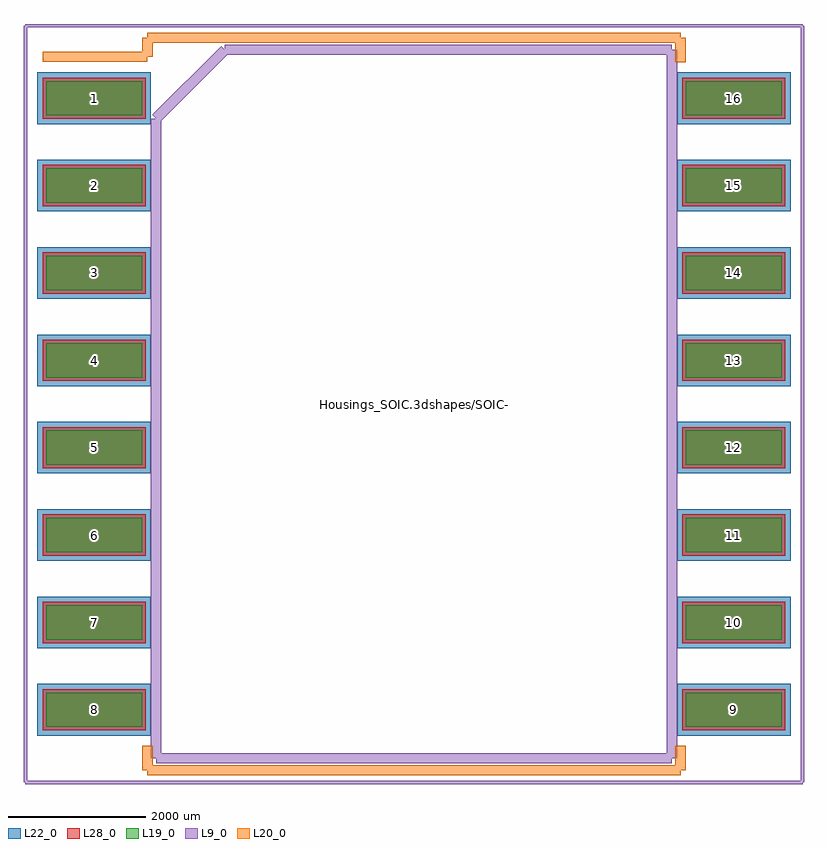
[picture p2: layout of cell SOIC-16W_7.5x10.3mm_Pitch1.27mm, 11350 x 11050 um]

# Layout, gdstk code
import gdstk
lib = gdstk.Library(unit=1e-6, precision=1e-09)
def R(c, l, rs):  # rectangles x0, y0, x1, y1
    for r in rs: c.add(gdstk.rectangle(r[:2], r[2:], *l))
def A(c, l, x, y, w, h, nx, ny, dx, dy):  # array of equal rectangles
    R(c, l, [(x+i*dx, y+j*dy, x+i*dx+w, y+j*dy+h) for i in range(nx) for j in range(ny)])
L9_0 = (9, 0)
L19_0 = (19, 0)
L20_0 = (20, 0)
L22_0 = (22, 0)
L28_0 = (28, 0)

soic_16w_7_5x10_3mm_pitc = lib.new_cell('SOIC-16W_7.5x10.3mm_Pitch1.27mm')
A(soic_16w_7_5x10_3mm_pitc, L19_0, -5350, -4695, 1400, 500, 1, 8, 0, 1270)
A(soic_16w_7_5x10_3mm_pitc, L19_0, 3950, -4695, 1400, 500, 1, 8, 0, 1270)
A(soic_16w_7_5x10_3mm_pitc, L22_0, -5475, -4820, 1650, 750, 1, 8, 0, 1270)
A(soic_16w_7_5x10_3mm_pitc, L22_0, 3825, -4820, 1650, 750, 1, 8, 0, 1270)
A(soic_16w_7_5x10_3mm_pitc, L28_0, -5400, -4745, 1500, 600, 1, 8, 0, 1270)
A(soic_16w_7_5x10_3mm_pitc, L28_0, 3900, -4745, 1500, 600, 1, 8, 0, 1270)
soic_16w_7_5x10_3mm_pitc.add(gdstk.FlexPath([(-3875,5050),(-5400,5050)], 149.998, ends="flush", simple_path=True, layer=20, datatype=0))  # L20_0
soic_16w_7_5x10_3mm_pitc.add(gdstk.FlexPath([(-3875,-5325),(3875,-5325)], 149.998, ends="flush", simple_path=True, layer=20, datatype=0))  # L20_0
soic_16w_7_5x10_3mm_pitc.add(gdstk.FlexPath([(-3875,5325),(3875,5325)], 149.998, ends="flush", simple_path=True, layer=20, datatype=0))  # L20_0
soic_16w_7_5x10_3mm_pitc.add(gdstk.FlexPath([(-3875,-5325),(-3875,-4970)], 149.998, ends="flush", simple_path=True, layer=20, datatype=0))  # L20_0
soic_16w_7_5x10_3mm_pitc.add(gdstk.FlexPath([(3875,-5325),(3875,-4970)], 149.998, ends="flush", simple_path=True, layer=20, datatype=0))  # L20_0
soic_16w_7_5x10_3mm_pitc.add(gdstk.FlexPath([(3875,5325),(3875,4970)], 149.998, ends="flush", simple_path=True, layer=20, datatype=0))  # L20_0
soic_16w_7_5x10_3mm_pitc.add(gdstk.FlexPath([(-3875,5325),(-3875,5050)], 149.998, ends="flush", simple_path=True, layer=20, datatype=0))  # L20_0
soic_16w_7_5x10_3mm_pitc.add(gdstk.FlexPath([(-5650,-5500),(5650,-5500)], 50, ends="flush", simple_path=True, layer=9, datatype=0))  # L9_0
soic_16w_7_5x10_3mm_pitc.add(gdstk.FlexPath([(-5650,5500),(5650,5500)], 50, ends="flush", simple_path=True, layer=9, datatype=0))  # L9_0
soic_16w_7_5x10_3mm_pitc.add(gdstk.FlexPath([(5650,5500),(5650,-5500)], 50, ends="flush", simple_path=True, layer=9, datatype=0))  # L9_0
soic_16w_7_5x10_3mm_pitc.add(gdstk.FlexPath([(-5650,5500),(-5650,-5500)], 50, ends="flush", simple_path=True, layer=9, datatype=0))  # L9_0
soic_16w_7_5x10_3mm_pitc.add(gdstk.FlexPath([(-3750,4150),(-2750,5150)], 149.998, ends="flush", simple_path=True, layer=9, datatype=0))  # L9_0
soic_16w_7_5x10_3mm_pitc.add(gdstk.FlexPath([(-3750,-5150),(-3750,4150)], 149.998, ends="flush", simple_path=True, layer=9, datatype=0))  # L9_0
soic_16w_7_5x10_3mm_pitc.add(gdstk.FlexPath([(3750,-5150),(-3750,-5150)], 149.998, ends="flush", simple_path=True, layer=9, datatype=0))  # L9_0
soic_16w_7_5x10_3mm_pitc.add(gdstk.FlexPath([(3750,5150),(3750,-5150)], 149.998, ends="flush", simple_path=True, layer=9, datatype=0))  # L9_0
soic_16w_7_5x10_3mm_pitc.add(gdstk.FlexPath([(-2750,5150),(3750,5150)], 149.998, ends="flush", simple_path=True, layer=9, datatype=0))  # L9_0
soic_16w_7_5x10_3mm_pitc.add(gdstk.Label('Housings_SOIC.3dshapes/SOIC-16_7.5x10.3mm_Pitch1.27mm.wrl', (0,0), layer=12, texttype=0))
soic_16w_7_5x10_3mm_pitc.add(gdstk.Label('16', (4650,4445), layer=28, texttype=0))
soic_16w_7_5x10_3mm_pitc.add(gdstk.Label('15', (4650,3175), layer=28, texttype=0))
soic_16w_7_5x10_3mm_pitc.add(gdstk.Label('14', (4650,1905), layer=28, texttype=0))
soic_16w_7_5x10_3mm_pitc.add(gdstk.Label('13', (4650,635), layer=28, texttype=0))
soic_16w_7_5x10_3mm_pitc.add(gdstk.Label('12', (4650,-635), layer=28, texttype=0))
soic_16w_7_5x10_3mm_pitc.add(gdstk.Label('11', (4650,-1905), layer=28, texttype=0))
soic_16w_7_5x10_3mm_pitc.add(gdstk.Label('10', (4650,-3175), layer=28, texttype=0))
soic_16w_7_5x10_3mm_pitc.add(gdstk.Label('9', (4650,-4445), layer=28, texttype=0))
soic_16w_7_5x10_3mm_pitc.add(gdstk.Label('8', (-4650,-4445), layer=28, texttype=0))
soic_16w_7_5x10_3mm_pitc.add(gdstk.Label('7', (-4650,-3175), layer=28, texttype=0))
soic_16w_7_5x10_3mm_pitc.add(gdstk.Label('6', (-4650,-1905), layer=28, texttype=0))
soic_16w_7_5x10_3mm_pitc.add(gdstk.Label('5', (-4650,-635), layer=28, texttype=0))
soic_16w_7_5x10_3mm_pitc.add(gdstk.Label('4', (-4650,635), layer=28, texttype=0))
soic_16w_7_5x10_3mm_pitc.add(gdstk.Label('3', (-4650,1905), layer=28, texttype=0))
soic_16w_7_5x10_3mm_pitc.add(gdstk.Label('2', (-4650,3175), layer=28, texttype=0))
soic_16w_7_5x10_3mm_pitc.add(gdstk.Label('1', (-4650,4445), layer=28, texttype=0))
soic_16w_7_5x10_3mm_pitc.add(gdstk.Label('type', (0,-6250), layer=9, texttype=0))
soic_16w_7_5x10_3mm_pitc.add(gdstk.Label('devicename', (0,6250), layer=9, texttype=0))

lib.write_gds('SOIC-16W_7.5x10.3mm_Pitch1.27mm.gds')
